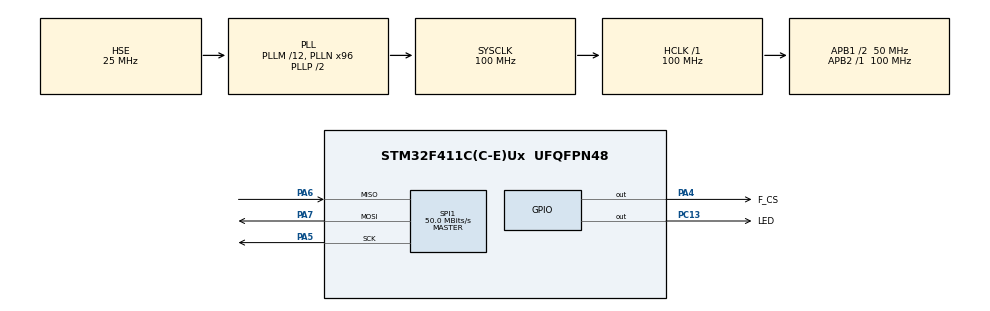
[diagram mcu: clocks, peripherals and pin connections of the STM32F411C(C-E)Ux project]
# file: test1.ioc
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FREERTOS.Tasks01=defaultTask,0,128,StartDefaultTask,Default,NULL,Dynamic,NULL,NULL;LED_task,0,128,LED_ft,Default,NULL,Dynamic,NULL,NULL
Mcu.Family=STM32F4
Mcu.Name=STM32F411C(C-E)Ux
Mcu.Package=UFQFPN48
NVIC.PriorityGroup=NVIC_PRIORITYGROUP_4
NVIC.TIM2_IRQn=true\:15\:0\:false\:false\:true\:false\:false\:true\:true
NVIC.TimeBase=TIM2_IRQn
NVIC.TimeBaseIP=TIM2
PA13.Mode=Serial_Wire
PA13.Signal=SYS_JTMS-SWDIO
PA14.Mode=Serial_Wire
PA14.Signal=SYS_JTCK-SWCLK
PA4.GPIO_Label=F_CS
PA4.Signal=GPIO_Output
PA5.Mode=Full_Duplex_Master
PA5.Signal=SPI1_SCK
PA6.Mode=Full_Duplex_Master
PA6.Signal=SPI1_MISO
PA7.Mode=Full_Duplex_Master
PA7.Signal=SPI1_MOSI
PC13-ANTI_TAMP.GPIO_Label=LED
PC13-ANTI_TAMP.Signal=GPIO_Output
PC14-OSC32_IN.Mode=LSE-External-Oscillator
PC14-OSC32_IN.Signal=RCC_OSC32_IN
PC15-OSC32_OUT.Mode=LSE-External-Oscillator
PC15-OSC32_OUT.Signal=RCC_OSC32_OUT
PH0\ -\ OSC_IN.Mode=HSE-External-Oscillator
PH0\ -\ OSC_IN.Signal=RCC_OSC_IN
PH1\ -\ OSC_OUT.Mode=HSE-External-Oscillator
PH1\ -\ OSC_OUT.Signal=RCC_OSC_OUT
ProjectManager.HeapSize=0x200
ProjectManager.StackSize=0x400
ProjectManager.TargetToolchain=SW4STM32
RCC.48MHZClocksFreq_Value=50000000
RCC.AHBFreq_Value=100000000
RCC.APB1CLKDivider=RCC_HCLK_DIV2
RCC.APB1Freq_Value=50000000
RCC.APB1TimFreq_Value=100000000
RCC.APB2Freq_Value=100000000
RCC.APB2TimFreq_Value=100000000
RCC.CortexFreq_Value=100000000
RCC.HCLKFreq_Value=100000000
RCC.HSE_VALUE=25000000
RCC.HSI_VALUE=16000000
RCC.PLLM=12
RCC.PLLN=96
RCC.PLLSourceVirtual=RCC_PLLSOURCE_HSE
RCC.SYSCLKFreq_VALUE=100000000
RCC.SYSCLKSource=RCC_SYSCLKSOURCE_PLLCLK
RCC.VCOOutputFreq_Value=200000000
SPI1.CalculateBaudRate=50.0 MBits/s
SPI1.Direction=SPI_DIRECTION_2LINES
SPI1.Mode=SPI_MODE_MASTER
SPI1.VirtualType=VM_MASTER
VP_FREERTOS_VS_CMSIS_V1.Mode=CMSIS_V1
VP_SYS_VS_tim2.Mode=TIM2
board=custom

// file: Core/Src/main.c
/* USER CODE BEGIN Header */
/**
  ******************************************************************************
  * @file           : main.c
  * @brief          : Main program body
  ******************************************************************************
  * @attention
  *
  * Copyright (c) 2022 STMicroelectronics.
  * All rights reserved.
  *
  * This software is licensed under terms that can be found in the LICENSE file
  * in the root directory of this software component.
  * If no LICENSE file comes with this software, it is provided AS-IS.
  *
  ******************************************************************************
  */
/* USER CODE END Header */
#include "main.h"
#include "cmsis_os.h"
#include "spi.h"
#include "gpio.h"

/* USER CODE BEGIN Includes */
#include "w25qxx.h"
/* USER CODE END Includes */

/* USER CODE BEGIN PTD */
static void LED_Blink(uint32_t Hdelay,uint32_t Ldelay)
{
    HAL_GPIO_WritePin(LED_GPIO_Port,LED_Pin,GPIO_PIN_RESET);
    HAL_Delay(Hdelay - 1);
    HAL_GPIO_WritePin(LED_GPIO_Port,LED_Pin,GPIO_PIN_SET);
    HAL_Delay(Ldelay-1);
}

/* USER CODE END PTD */

void SystemClock_Config(void);
void MX_FREERTOS_Init(void);

int main(void)
{

    /* MCU Configuration--------------------------------------------------------*/

    /* Reset of all peripherals, Initializes the Flash interface and the Systick. */
    HAL_Init();

    /* Configure the system clock */
    SystemClock_Config();

    /* Initialize all configured peripherals */
    MX_GPIO_Init();
    MX_SPI1_Init();
    /* USER CODE BEGIN 2 */
    W25Qx_Init();
    if(W25Qx_Para.FLASH_ID < W25Q80 || W25Qx_Para.FLASH_ID > W25Q128)
    {
        // SPI Flash ID Error
        while(1)
        {
            LED_Blink(50,50);
            HAL_PWR_EnterSLEEPMode(PWR_LOWPOWERREGULATOR_ON,PWR_SLEEPENTRY_WFI);
        }
    }

    /* USER CODE END 2 */

    /* Call init function for freertos objects (in freertos.c) */
    MX_FREERTOS_Init();

    /* Start scheduler */
    osKernelStart();

    /* We should never get here as control is now taken by the scheduler */
    /* Infinite loop */
    /* USER CODE BEGIN WHILE */
    uint8_t result;
    LED_Blink(300,80);
    LED_Blink(300,80);
    HAL_GPIO_WritePin(LED_GPIO_Port,LED_Pin,GPIO_PIN_RESET);
    result = W25Qx_Erase_Chip();

    while(1)
    {
        // Erase Done
        if(result == W25Qx_OK)
            LED_Blink(50,500);
        else
            // Erase Error
            LED_Blink(500,500);
        HAL_PWR_EnterSLEEPMode(PWR_LOWPOWERREGULATOR_ON,PWR_SLEEPENTRY_WFI);
    }
    /* USER CODE END 3 */
}

void SystemClock_Config(void)
{
    RCC_OscInitTypeDef RCC_OscInitStruct = {0};
    RCC_ClkInitTypeDef RCC_ClkInitStruct = {0};

    /** Configure the main internal regulator output voltage
    */
    __HAL_RCC_PWR_CLK_ENABLE();
    __HAL_PWR_VOLTAGESCALING_CONFIG(PWR_REGULATOR_VOLTAGE_SCALE1);

    /** Initializes the RCC Oscillators according to the specified parameters
    * in the RCC_OscInitTypeDef structure.
    */
    RCC_OscInitStruct.OscillatorType = RCC_OSCILLATORTYPE_HSE;
    RCC_OscInitStruct.HSEState = RCC_HSE_ON;
    RCC_OscInitStruct.PLL.PLLState = RCC_PLL_ON;
    RCC_OscInitStruct.PLL.PLLSource = RCC_PLLSOURCE_HSE;
    RCC_OscInitStruct.PLL.PLLM = 12;
    RCC_OscInitStruct.PLL.PLLN = 96;
    RCC_OscInitStruct.PLL.PLLP = RCC_PLLP_DIV2;
    RCC_OscInitStruct.PLL.PLLQ = 4;
    if (HAL_RCC_OscConfig(&RCC_OscInitStruct) != HAL_OK)
    {
        Error_Handler();
    }

    /** Initializes the CPU, AHB and APB buses clocks
    */
    RCC_ClkInitStruct.ClockType = RCC_CLOCKTYPE_HCLK | RCC_CLOCKTYPE_SYSCLK
                                  | RCC_CLOCKTYPE_PCLK1 | RCC_CLOCKTYPE_PCLK2;
    RCC_ClkInitStruct.SYSCLKSource = RCC_SYSCLKSOURCE_PLLCLK;
    RCC_ClkInitStruct.AHBCLKDivider = RCC_SYSCLK_DIV1;
    RCC_ClkInitStruct.APB1CLKDivider = RCC_HCLK_DIV2;
    RCC_ClkInitStruct.APB2CLKDivider = RCC_HCLK_DIV1;

    if (HAL_RCC_ClockConfig(&RCC_ClkInitStruct, FLASH_LATENCY_3) != HAL_OK)
    {
        Error_Handler();
    }
}

void HAL_TIM_PeriodElapsedCallback(TIM_HandleTypeDef *htim)
{
    if (htim->Instance == TIM2)
    {
        HAL_IncTick();
    }
}

void Error_Handler(void)
{
    __disable_irq();
    while (1)
    {
    }
}

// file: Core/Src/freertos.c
/* USER CODE BEGIN Header */
/**
  ******************************************************************************
  * File Name          : freertos.c
  * Description        : Code for freertos applications
  ******************************************************************************
  * @attention
  *
  * Copyright (c) 2022 STMicroelectronics.
  * All rights reserved.
  *
  * This software is licensed under terms that can be found in the LICENSE file
  * in the root directory of this software component.
  * If no LICENSE file comes with this software, it is provided AS-IS.
  *
  ******************************************************************************
  */
/* USER CODE END Header */

#include "FreeRTOS.h"
#include "task.h"
#include "main.h"
#include "cmsis_os.h"

/* USER CODE BEGIN Includes */
#include "w25qxx.h"
static void LED_Blink(uint32_t Hdelay,uint32_t Ldelay)
{
    HAL_GPIO_WritePin(LED_GPIO_Port,LED_Pin,GPIO_PIN_RESET);
    HAL_Delay(Hdelay - 1);
    HAL_GPIO_WritePin(LED_GPIO_Port,LED_Pin,GPIO_PIN_SET);
    HAL_Delay(Ldelay-1);
}

/* USER CODE END Includes */

osThreadId defaultTaskHandle;
osThreadId LED_taskHandle;

void StartDefaultTask(void const * argument);
void LED_ft(void const * argument);

void MX_FREERTOS_Init(void); /* (MISRA C 2004 rule 8.1) */

/* GetIdleTaskMemory prototype (linked to static allocation support) */
void vApplicationGetIdleTaskMemory( StaticTask_t **ppxIdleTaskTCBBuffer, StackType_t **ppxIdleTaskStackBuffer, uint32_t *pulIdleTaskStackSize );

/* USER CODE BEGIN GET_IDLE_TASK_MEMORY */
static StaticTask_t xIdleTaskTCBBuffer;
static StackType_t xIdleStack[configMINIMAL_STACK_SIZE];

void vApplicationGetIdleTaskMemory( StaticTask_t **ppxIdleTaskTCBBuffer, StackType_t **ppxIdleTaskStackBuffer, uint32_t *pulIdleTaskStackSize )
{
  *ppxIdleTaskTCBBuffer = &xIdleTaskTCBBuffer;
  *ppxIdleTaskStackBuffer = &xIdleStack[0];
  *pulIdleTaskStackSize = configMINIMAL_STACK_SIZE;
  /* place for user code */
}
/* USER CODE END GET_IDLE_TASK_MEMORY */

void MX_FREERTOS_Init(void) {

  /* Create the thread(s) */
  /* definition and creation of defaultTask */
  osThreadDef(defaultTask, StartDefaultTask, osPriorityNormal, 0, 128);
  defaultTaskHandle = osThreadCreate(osThread(defaultTask), NULL);

  /* definition and creation of LED_task */
  osThreadDef(LED_task, LED_ft, osPriorityNormal, 0, 128);
  LED_taskHandle = osThreadCreate(osThread(LED_task), NULL);

}

void StartDefaultTask(void const * argument)
{
  for(;;)
  {
    osDelay(1);
  }
}

void LED_ft(void const * argument)
{
    /* USER CODE BEGIN LED_ft */
    uint8_t result;
    /* Infinite loop */
    for (;;)
    {
        if (result == W25Qx_OK)
            LED_Blink(50, 500);
        else
            // Erase Error
            LED_Blink(500, 500);
        HAL_PWR_EnterSLEEPMode(PWR_LOWPOWERREGULATOR_ON, PWR_SLEEPENTRY_WFI);
        /* USER CODE END LED_ft */
    }
}
